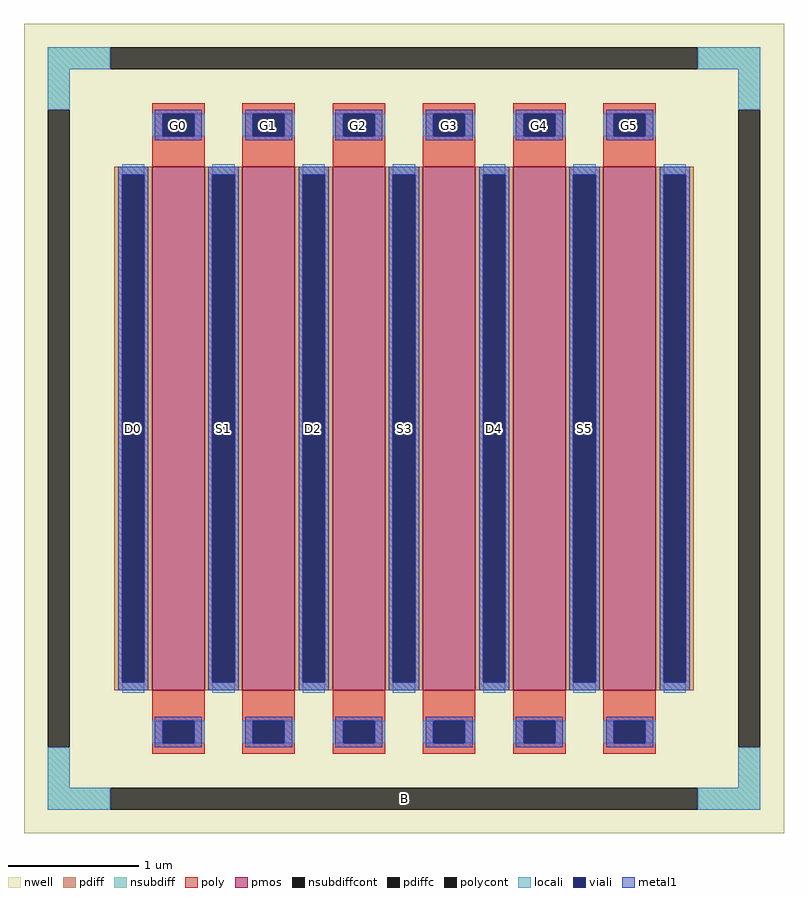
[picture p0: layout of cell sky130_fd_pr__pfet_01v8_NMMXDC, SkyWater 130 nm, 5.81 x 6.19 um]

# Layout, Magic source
magic
tech sky130A
magscale 1 2
<< nwell >>
rect -581 -619 581 619
<< pmos >>
rect -385 -400 -305 400
rect -247 -400 -167 400
rect -109 -400 -29 400
rect 29 -400 109 400
rect 167 -400 247 400
rect 305 -400 385 400
<< pdiff >>
rect -443 388 -385 400
rect -443 -388 -431 388
rect -397 -388 -385 388
rect -443 -400 -385 -388
rect -305 388 -247 400
rect -305 -388 -293 388
rect -259 -388 -247 388
rect -305 -400 -247 -388
rect -167 388 -109 400
rect -167 -388 -155 388
rect -121 -388 -109 388
rect -167 -400 -109 -388
rect -29 388 29 400
rect -29 -388 -17 388
rect 17 -388 29 388
rect -29 -400 29 -388
rect 109 388 167 400
rect 109 -388 121 388
rect 155 -388 167 388
rect 109 -400 167 -388
rect 247 388 305 400
rect 247 -388 259 388
rect 293 -388 305 388
rect 247 -400 305 -388
rect 385 388 443 400
rect 385 -388 397 388
rect 431 -388 443 388
rect 385 -400 443 -388
<< pdiffc >>
rect -431 -388 -397 388
rect -293 -388 -259 388
rect -155 -388 -121 388
rect -17 -388 17 388
rect 121 -388 155 388
rect 259 -388 293 388
rect 397 -388 431 388
<< nsubdiff >>
rect -545 549 -449 583
rect 449 549 545 583
rect -545 487 -511 549
rect 511 487 545 549
rect -545 -549 -511 -487
rect 511 -549 545 -487
rect -545 -583 -449 -549
rect 449 -583 545 -549
<< nsubdiffcont >>
rect -449 549 449 583
rect -545 -487 -511 487
rect 511 -487 545 487
rect -449 -583 449 -549
<< poly >>
rect -385 481 -305 497
rect -385 447 -369 481
rect -321 447 -305 481
rect -385 400 -305 447
rect -247 481 -167 497
rect -247 447 -231 481
rect -183 447 -167 481
rect -247 400 -167 447
rect -109 481 -29 497
rect -109 447 -93 481
rect -45 447 -29 481
rect -109 400 -29 447
rect 29 481 109 497
rect 29 447 45 481
rect 93 447 109 481
rect 29 400 109 447
rect 167 481 247 497
rect 167 447 183 481
rect 231 447 247 481
rect 167 400 247 447
rect 305 481 385 497
rect 305 447 321 481
rect 369 447 385 481
rect 305 400 385 447
rect -385 -447 -305 -400
rect -385 -481 -369 -447
rect -321 -481 -305 -447
rect -385 -497 -305 -481
rect -247 -447 -167 -400
rect -247 -481 -231 -447
rect -183 -481 -167 -447
rect -247 -497 -167 -481
rect -109 -447 -29 -400
rect -109 -481 -93 -447
rect -45 -481 -29 -447
rect -109 -497 -29 -481
rect 29 -447 109 -400
rect 29 -481 45 -447
rect 93 -481 109 -447
rect 29 -497 109 -481
rect 167 -447 247 -400
rect 167 -481 183 -447
rect 231 -481 247 -447
rect 167 -497 247 -481
rect 305 -447 385 -400
rect 305 -481 321 -447
rect 369 -481 385 -447
rect 305 -497 385 -481
<< polycont >>
rect -369 447 -321 481
rect -231 447 -183 481
rect -93 447 -45 481
rect 45 447 93 481
rect 183 447 231 481
rect 321 447 369 481
rect -369 -481 -321 -447
rect -231 -481 -183 -447
rect -93 -481 -45 -447
rect 45 -481 93 -447
rect 183 -481 231 -447
rect 321 -481 369 -447
<< locali >>
rect -545 549 -449 583
rect 449 549 545 583
rect -545 487 -511 549
rect 511 487 545 549
rect -385 447 -369 481
rect -321 447 -305 481
rect -247 447 -231 481
rect -183 447 -167 481
rect -109 447 -93 481
rect -45 447 -29 481
rect 29 447 45 481
rect 93 447 109 481
rect 167 447 183 481
rect 231 447 247 481
rect 305 447 321 481
rect 369 447 385 481
rect -431 388 -397 404
rect -431 -404 -397 -388
rect -293 388 -259 404
rect -293 -404 -259 -388
rect -155 388 -121 404
rect -155 -404 -121 -388
rect -17 388 17 404
rect -17 -404 17 -388
rect 121 388 155 404
rect 121 -404 155 -388
rect 259 388 293 404
rect 259 -404 293 -388
rect 397 388 431 404
rect 397 -404 431 -388
rect -385 -481 -369 -447
rect -321 -481 -305 -447
rect -247 -481 -231 -447
rect -183 -481 -167 -447
rect -109 -481 -93 -447
rect -45 -481 -29 -447
rect 29 -481 45 -447
rect 93 -481 109 -447
rect 167 -481 183 -447
rect 231 -481 247 -447
rect 305 -481 321 -447
rect 369 -481 385 -447
rect -545 -549 -511 -487
rect 511 -549 545 -487
rect -545 -583 -449 -549
rect 449 -583 545 -549
<< viali >>
rect -369 447 -321 481
rect -231 447 -183 481
rect -93 447 -45 481
rect 45 447 93 481
rect 183 447 231 481
rect 321 447 369 481
rect -431 -388 -397 388
rect -293 -388 -259 388
rect -155 -388 -121 388
rect -17 -388 17 388
rect 121 -388 155 388
rect 259 -388 293 388
rect 397 -388 431 388
rect -369 -481 -321 -447
rect -231 -481 -183 -447
rect -93 -481 -45 -447
rect 45 -481 93 -447
rect 183 -481 231 -447
rect 321 -481 369 -447
<< metal1 >>
rect -381 481 -309 487
rect -381 447 -369 481
rect -321 447 -309 481
rect -381 441 -309 447
rect -243 481 -171 487
rect -243 447 -231 481
rect -183 447 -171 481
rect -243 441 -171 447
rect -105 481 -33 487
rect -105 447 -93 481
rect -45 447 -33 481
rect -105 441 -33 447
rect 33 481 105 487
rect 33 447 45 481
rect 93 447 105 481
rect 33 441 105 447
rect 171 481 243 487
rect 171 447 183 481
rect 231 447 243 481
rect 171 441 243 447
rect 309 481 381 487
rect 309 447 321 481
rect 369 447 381 481
rect 309 441 381 447
rect -437 388 -391 400
rect -437 -388 -431 388
rect -397 -388 -391 388
rect -437 -400 -391 -388
rect -299 388 -253 400
rect -299 -388 -293 388
rect -259 -388 -253 388
rect -299 -400 -253 -388
rect -161 388 -115 400
rect -161 -388 -155 388
rect -121 -388 -115 388
rect -161 -400 -115 -388
rect -23 388 23 400
rect -23 -388 -17 388
rect 17 -388 23 388
rect -23 -400 23 -388
rect 115 388 161 400
rect 115 -388 121 388
rect 155 -388 161 388
rect 115 -400 161 -388
rect 253 388 299 400
rect 253 -388 259 388
rect 293 -388 299 388
rect 253 -400 299 -388
rect 391 388 437 400
rect 391 -388 397 388
rect 431 -388 437 388
rect 391 -400 437 -388
rect -381 -447 -309 -441
rect -381 -481 -369 -447
rect -321 -481 -309 -447
rect -381 -487 -309 -481
rect -243 -447 -171 -441
rect -243 -481 -231 -447
rect -183 -481 -171 -447
rect -243 -487 -171 -481
rect -105 -447 -33 -441
rect -105 -481 -93 -447
rect -45 -481 -33 -447
rect -105 -487 -33 -481
rect 33 -447 105 -441
rect 33 -481 45 -447
rect 93 -481 105 -447
rect 33 -487 105 -481
rect 171 -447 243 -441
rect 171 -481 183 -447
rect 231 -481 243 -447
rect 171 -487 243 -481
rect 309 -447 381 -441
rect 309 -481 321 -447
rect 369 -481 381 -447
rect 309 -487 381 -481
<< labels >>
rlabel nsubdiffcont 0 -566 0 -566 0 B
port 66 nsew
rlabel pdiffc -414 0 -414 0 0 D0
port 67 nsew
rlabel polycont -345 464 -345 464 0 G0
port 68 nsew
rlabel pdiffc -276 0 -276 0 0 S1
port 69 nsew
rlabel polycont -207 464 -207 464 0 G1
port 70 nsew
rlabel pdiffc -138 0 -138 0 0 D2
port 71 nsew
rlabel polycont -69 464 -69 464 0 G2
port 72 nsew
rlabel pdiffc 0 0 0 0 0 S3
port 73 nsew
rlabel polycont 69 464 69 464 0 G3
port 74 nsew
rlabel pdiffc 138 0 138 0 0 D4
port 75 nsew
rlabel polycont 207 464 207 464 0 G4
port 76 nsew
rlabel pdiffc 276 0 276 0 0 S5
port 77 nsew
rlabel polycont 345 464 345 464 0 G5
port 78 nsew
<< properties >>
string FIXED_BBOX -528 -566 528 566
string gencell sky130_fd_pr__pfet_01v8
string library sky130
string parameters w 4.0 l 0.4 m 1 nf 6 diffcov 100 polycov 100 guard 1 glc 1 grc 1 gtc 1 gbc 1 tbcov 100 rlcov 100 topc 1 botc 1 poverlap 0 doverlap 1 lmin 0.15 wmin 0.42 class mosfet compatible {sky130_fd_pr__pfet_01v8  sky130_fd_pr__pfet_01v8_lvt sky130_fd_pr__pfet_01v8_hvt  sky130_fd_pr__pfet_g5v0d10v5} full_metal 1 conn_gates 0 viasrc 100 viadrn 100 viagate 100 viagb 0 viagr 0 viagl 0 viagt 0 doports 1
<< end >>
